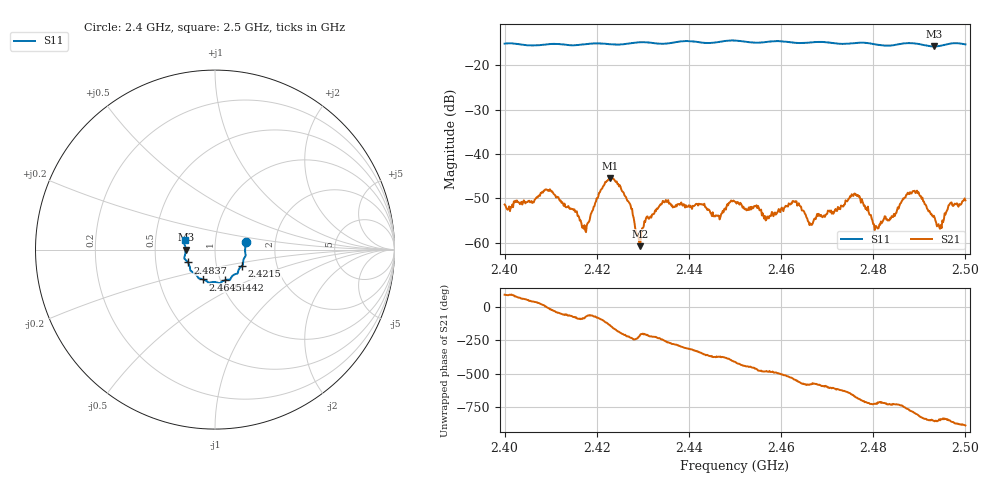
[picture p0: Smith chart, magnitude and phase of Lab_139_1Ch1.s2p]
# Hz S RI R 50
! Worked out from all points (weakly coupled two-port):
!   601 points, 2.4 GHz to 2.5 GHz, reference 50 ohm
!   highest |S21| = -45.36 dB at 2.4228 GHz (marker M1); lowest = -60.8 dB at 2.4293 GHz (marker M2)
!   lowest |S11| = -15.7 dB at 2.4932 GHz (marker M3), VSWR 1.39, Z = 35.9 - j0.0471 ohm
!   |S11| at or under -10 dB: start of sweep to end of sweep
!   S12 and S22 are empty: the file has one direction only
!   S11 on the Smith chart (normalised r, x): 2.4 GHz: 1.41, +0.12; 2.4215 GHz: 1.33, -0.25; 2.4442 GHz: 1.05, -0.37; 2.4645 GHz: 0.83, -0.29; 2.4837 GHz: 0.73, -0.11; 2.5 GHz: 0.71, +0.07
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2.4e9  0.1712 0.0401  -6.16e-05 0.0027  0 0  0 0
2.4095e9  0.1711 -0.0278  0.00388 -0.000584  0 0  0 0
2.416667e9  0.1568 -0.0697  4.97e-05 -0.00166  0 0  0 0
2.418e9  0.1555 -0.079  0.000688 -0.00151  0 0  0 0
2.4215e9  0.1509 -0.0898  -0.00107 -0.00427  0 0  0 0
2.422833e9  0.1452 -0.0947  -0.00388 -0.00374  0 0  0 0
2.426833e9  0.1288 -0.12  -0.00218 0.00197  0 0  0 0
2.429333e9  0.127 -0.1309  -0.000749 0.000526  0 0  0 0
2.433333e9  0.1082 -0.1386  -0.00143 0.00202  0 0  0 0
2.444167e9  0.0564 -0.1696  0.00238 -0.000151  0 0  0 0
2.45e9  0.0249 -0.189  0.00182 -0.00226  0 0  0 0
2.456833e9  -0.022 -0.1823  -0.000898 -0.0016  0 0  0 0
2.4645e9  -0.0658 -0.166  -0.00194 0.00126  0 0  0 0
2.466667e9  -0.0827 -0.1618  -0.00127 0.000958  0 0  0 0
2.475833e9  -0.1286 -0.123  0.00219 0.00281  0 0  0 0
2.480667e9  -0.1387 -0.1016  0.00154 -5.91e-05  0 0  0 0
2.483333e9  -0.1491 -0.075  0.00178 -0.000285  0 0  0 0
2.483667e9  -0.151 -0.0716  0.00187 -0.000311  0 0  0 0
2.489e9  -0.1712 -0.0446  0.000996 -0.00373  0 0  0 0
2.493167e9  -0.1635 -0.000638  -0.00134 -0.0015  0 0  0 0
2.494333e9  -0.1648 0.014  -0.000767 -0.00128  0 0  0 0
2.5e9  -0.165 0.0508  -0.00293 -0.000671  0 0  0 0
